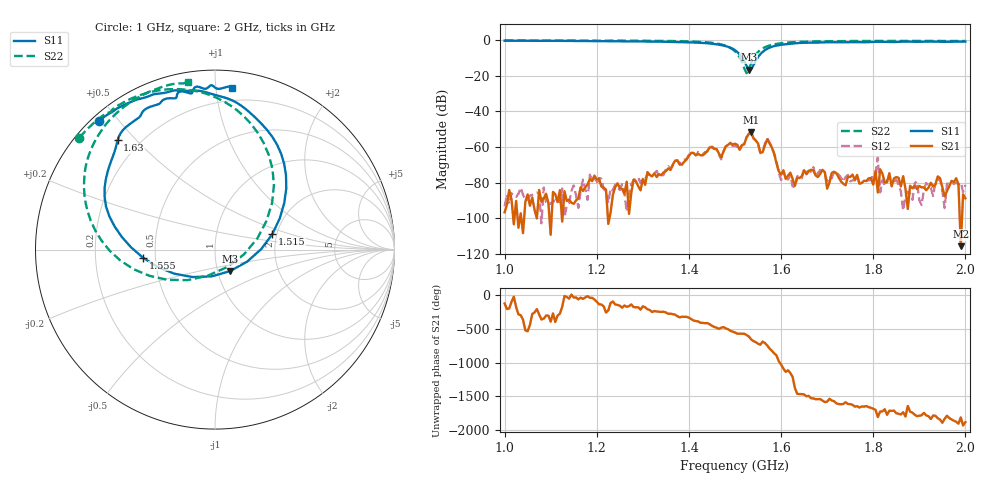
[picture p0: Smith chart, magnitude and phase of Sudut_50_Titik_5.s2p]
# Hz S RI R 50
! CMT, C1220, 16058040, 17.2.0/1
! Date: 14/08/2018 11:46:31
! Data: Format (Calibration Info)
! Freq  S11: Re/Im (F2)  S21: Re/Im (F2)  S12: Re/Im (F2)  S22: Re/Im (F2)
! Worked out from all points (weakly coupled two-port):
!   201 points, 1 GHz to 2 GHz, reference 50 ohm
!   highest |S21| = -51.54 dB at 1.535 GHz (marker M1); lowest = -115.7 dB at 1.99 GHz (marker M2)
!   lowest |S11| = -16.7 dB at 1.53 GHz (marker M3), VSWR 1.34, Z = 57.6 - j14 ohm
!   |S11| at or under -10 dB: 1.516 GHz to 1.549 GHz (32.8 MHz wide, 2.14 % of centre)
!   |S22| runs from -18.6 to -0.2 dB; largest |S21 - S12| = 0.00049
!   S11 on the Smith chart (normalised r, x): 1 GHz: 0.02, +0.44; 1.515 GHz: 1.89, +0.37; 1.555 GHz: 0.43, -0.05; 1.63 GHz: 0.12, +0.44; 2 GHz: 0.11, +1.11
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1e9  -0.6488 0.7152  -8.29e-06 -1.22e-05  -9.5e-06 1.92e-05  -0.7549 0.6244
1.17e9  -0.4676 0.8228  3.33e-05 -4.78e-05  0.000117 -3.08e-05  -0.618 0.7509
1.335e9  -0.2025 0.8856  -7.13e-05 0.000157  -4.25e-05 0.000143  -0.4007 0.8661
1.45e9  0.1834 0.7729  -7.62e-05 -0.000979  -0.000152 -0.00102  0.0214 0.8399
1.47e9  0.2913 0.6649  -0.000284 -0.000426  -0.000264 -0.000367  0.1619 0.742
1.5e9  0.3971 0.341  -0.0012 0.0003  -0.00104 0.000329  0.3284 0.3591
1.515e9  0.3199 0.0871  -0.000944 0.000616  -0.000966 0.000569  0.2362 0.0626
1.53e9  0.0863 -0.1189  -0.000678 0.00223  -0.000711 0.00224  -0.0399 -0.1455
1.535e9  -0.017 -0.1489  0.00118 0.00237  0.00119 0.00236  -0.1527 -0.17
1.555e9  -0.4018 -0.0447  0.000667 -0.000192  0.000656 -0.000142  -0.5269 -0.061
1.57e9  -0.5588 0.1281  0.00148 -0.000748  0.00156 -0.000838  -0.6662 0.1048
1.6e9  -0.5974 0.4372  0.000109 0.000126  0.000107 4.91e-05  -0.7294 0.3782
1.63e9  -0.543 0.6088  3.81e-05 7.14e-05  1.68e-05 7.4e-05  -0.6965 0.5431
1.67e9  -0.4313 0.7295  -1.32e-05 -0.000222  -1.91e-05 -0.000273  -0.6266 0.6727
1.775e9  -0.2266 0.8428  -8.12e-05 5.29e-05  -8.11e-05 5.69e-05  -0.4613 0.8278
1.805e9  -0.2037 0.8757  -2.41e-05 0.00021  -4.46e-06 0.000182  -0.4175 0.8536
1.81e9  -0.1956 0.88  5.21e-05 -9.98e-06  0.000311 0.000408  -0.4108 0.8575
1.815e9  -0.1852 0.8815  7.6e-05 0.000224  -5.32e-05 -1.53e-06  -0.4036 0.8612
1.825e9  -0.1601 0.8769  -2.7e-05 9.78e-05  -4.38e-05 6.75e-05  -0.3903 0.8678
1.835e9  -0.1383 0.8702  1.83e-05 0.000183  -1.64e-05 0.000136  -0.3772 0.8745
1.99e9  0.085 0.9082  1.58e-06 -4.53e-07  -6.2e-05 -7.97e-05  -0.1648 0.9296
2e9  0.0969 0.903  2.28e-06 -3.63e-05  -5.78e-05 -6.41e-05  -0.1514 0.9344
